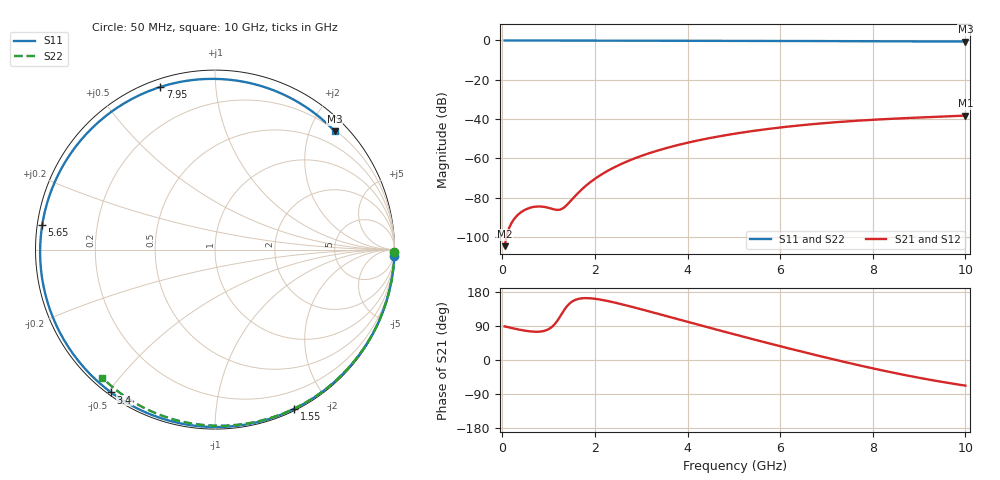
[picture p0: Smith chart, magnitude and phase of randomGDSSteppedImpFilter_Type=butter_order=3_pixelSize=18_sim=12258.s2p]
! freq	dB(S11)	phase(S11)	dB(S12)	phase(S12)
!  dB(S21)	phase(S21)	dB(S22)	phase(S22)
!S-par simulation data
#  GHz  S  DB  R 50
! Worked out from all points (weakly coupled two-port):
!   200 points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, 50 MHz to 10 GHz, reference 50 ohm
!   highest |S21| = -38.25 dB at 10 GHz (marker M1); lowest = -104.8 dB at 50 MHz (marker M2)
!   lowest |S11| = -0.6 dB at 10 GHz (marker M3), VSWR 31.03, Z = 11.1 + j121 ohm
!   |S11| at or under -10 dB: nowhere
!   |S22| runs from -0.4 to 0.0 dB; largest |S21 - S12| = 0
!   S11 on the Smith chart (normalised r, x): 50 MHz: 0, -53; 1.55 GHz: 0.02, -1.61; 3.4 GHz: 0.01, -0.51; 5.65 GHz: 0.01, +0.07; 7.95 GHz: 0.03, +0.72; 10 GHz: 0.22, +2.42
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0.05  -0.00 -2.2  -104.77 88.8  -104.77 88.8  -0.00 -0.8
0.35  -0.02 -14.9  -88.52 80.5  -88.52 80.5  -0.01 -5.3
0.7  -0.04 -29.6  -84.70 74.6  -84.70 74.6  -0.01 -10.6
1.15  -0.06 -47.9  -86.20 97.3  -86.20 97.3  -0.02 -17.3
1.55  -0.08 -63.5  -79.82 157.1  -79.82 157.1  -0.03 -23.2
1.75  -0.08 -71.1  -75.13 163.1  -75.13 163.1  -0.03 -26.2
2.05  -0.09 -82.0  -69.65 160.7  -69.65 160.7  -0.04 -30.6
2.45  -0.11 -95.8  -64.25 150.9  -64.25 150.9  -0.05 -36.4
2.9  -0.12 -110.6  -59.69 137.1  -59.69 137.1  -0.06 -42.8
3.4  -0.14 -126.0  -55.77 120.7  -55.77 120.7  -0.07 -49.8
4.2  -0.17 -149.1  -51.05 94.2  -51.05 94.2  -0.09 -60.8
5.05  -0.21 -172.2  -47.37 66.4  -47.37 66.4  -0.11 -72.1
5.65  -0.24 171.8  -45.35 47.3  -45.35 47.3  -0.13 -79.9
6.15  -0.27 158.6  -43.93 31.7  -43.93 31.7  -0.15 -86.2
6.7  -0.31 143.8  -42.63 15.0  -42.63 15.0  -0.18 -93.0
7.35  -0.35 125.8  -41.38 -4.0  -41.38 -4.0  -0.22 -100.8
7.95  -0.39 108.6  -40.47 -20.7  -40.47 -20.7  -0.26 -107.9
8.35  -0.42 96.7  -39.96 -31.2  -39.96 -31.2  -0.29 -112.6
8.75  -0.45 84.5  -39.51 -41.1  -39.51 -41.1  -0.32 -117.2
9.15  -0.48 72.0  -39.10 -50.3  -39.10 -50.3  -0.36 -121.8
9.55  -0.51 59.2  -38.71 -58.9  -38.71 -58.9  -0.40 -126.3
10  -0.56 44.6  -38.25 -67.7  -38.25 -67.7  -0.44 -131.4
